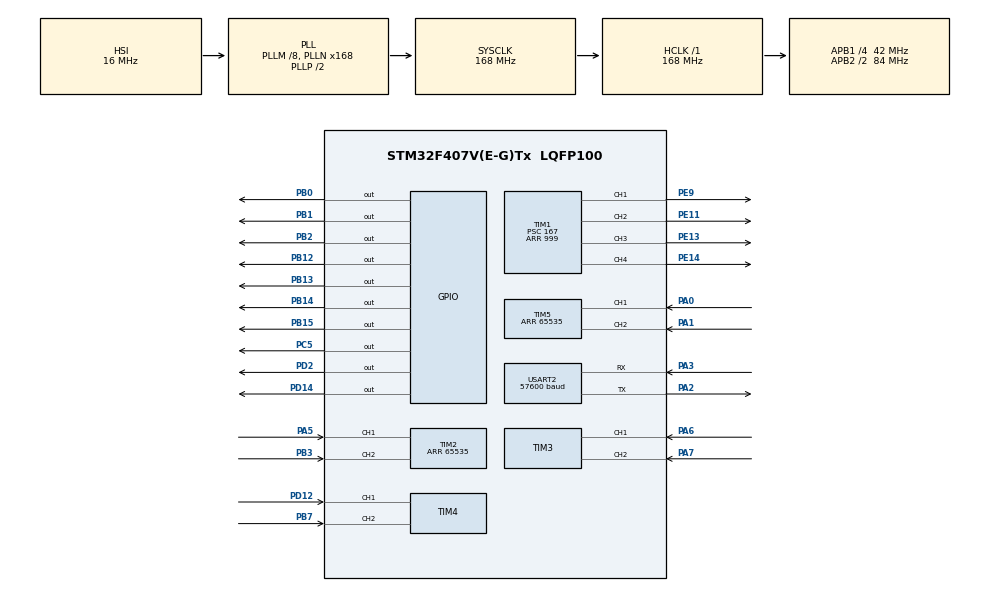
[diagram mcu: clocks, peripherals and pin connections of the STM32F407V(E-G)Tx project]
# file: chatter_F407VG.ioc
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Dma.Request0=USART2_RX
Dma.Request1=USART2_TX
Dma.USART2_RX.0.Direction=DMA_PERIPH_TO_MEMORY
Dma.USART2_RX.0.FIFOMode=DMA_FIFOMODE_DISABLE
Dma.USART2_RX.0.Instance=DMA1_Stream5
Dma.USART2_RX.0.MemDataAlignment=DMA_MDATAALIGN_BYTE
Dma.USART2_RX.0.MemInc=DMA_MINC_ENABLE
Dma.USART2_RX.0.Mode=DMA_CIRCULAR
Dma.USART2_RX.0.PeriphDataAlignment=DMA_PDATAALIGN_BYTE
Dma.USART2_RX.0.PeriphInc=DMA_PINC_DISABLE
Dma.USART2_RX.0.Priority=DMA_PRIORITY_LOW
Dma.USART2_TX.1.Direction=DMA_MEMORY_TO_PERIPH
Dma.USART2_TX.1.FIFOMode=DMA_FIFOMODE_DISABLE
Dma.USART2_TX.1.Instance=DMA1_Stream6
Dma.USART2_TX.1.MemDataAlignment=DMA_MDATAALIGN_BYTE
Dma.USART2_TX.1.MemInc=DMA_MINC_ENABLE
Dma.USART2_TX.1.Mode=DMA_NORMAL
Dma.USART2_TX.1.PeriphDataAlignment=DMA_PDATAALIGN_BYTE
Dma.USART2_TX.1.PeriphInc=DMA_PINC_DISABLE
Dma.USART2_TX.1.Priority=DMA_PRIORITY_LOW
Mcu.Family=STM32F4
Mcu.Name=STM32F407V(E-G)Tx
Mcu.Package=LQFP100
NVIC.DMA1_Stream5_IRQn=true\:0\:0\:false\:false\:true\:false\:true\:true
NVIC.DMA1_Stream6_IRQn=true\:0\:0\:false\:false\:true\:false\:true\:true
NVIC.PriorityGroup=NVIC_PRIORITYGROUP_4
NVIC.TIM1_BRK_TIM9_IRQn=true\:0\:0\:false\:false\:true\:true\:true\:true
NVIC.USART2_IRQn=true\:0\:0\:false\:false\:true\:true\:true\:true
PA0-WKUP.GPIO_PuPd=GPIO_PULLUP
PA0-WKUP.Signal=S_TIM5_CH1
PA1.GPIO_PuPd=GPIO_PULLUP
PA1.Signal=S_TIM5_CH2
PA13.Mode=Serial_Wire
PA13.Signal=SYS_JTMS-SWDIO
PA14.Mode=Serial_Wire
PA14.Signal=SYS_JTCK-SWCLK
PA2.Mode=Asynchronous
PA2.Signal=USART2_TX
PA3.Mode=Asynchronous
PA3.Signal=USART2_RX
PA5.GPIO_PuPd=GPIO_PULLUP
PA5.Signal=S_TIM2_CH1_ETR
PA6.GPIO_PuPd=GPIO_PULLUP
PA6.Signal=S_TIM3_CH1
PA7.GPIO_PuPd=GPIO_PULLUP
PA7.Signal=S_TIM3_CH2
PB0.Signal=GPIO_Output
PB1.Signal=GPIO_Output
PB12.Signal=GPIO_Output
PB13.Signal=GPIO_Output
PB14.Signal=GPIO_Output
PB15.Signal=GPIO_Output
PB2.Signal=GPIO_Output
PB3.GPIO_PuPd=GPIO_PULLUP
PB3.Signal=S_TIM2_CH2
PB7.GPIO_PuPd=GPIO_PULLUP
PB7.Signal=S_TIM4_CH2
PC5.Signal=GPIO_Output
PD12.GPIO_PuPd=GPIO_PULLUP
PD12.Signal=S_TIM4_CH1
PD14.Signal=GPIO_Output
PD2.Signal=GPIO_Output
PE11.Signal=S_TIM1_CH2
PE13.Signal=S_TIM1_CH3
PE14.Signal=S_TIM1_CH4
PE9.Signal=S_TIM1_CH1
PH0-OSC_IN.Mode=HSE-External-Oscillator
PH0-OSC_IN.Signal=RCC_OSC_IN
PH1-OSC_OUT.Mode=HSE-External-Oscillator
PH1-OSC_OUT.Signal=RCC_OSC_OUT
ProjectManager.HeapSize=0x200
ProjectManager.StackSize=0x400
ProjectManager.TargetToolchain=STM32CubeIDE
RCC.48MHZClocksFreq_Value=84000000
RCC.AHBFreq_Value=168000000
RCC.APB1CLKDivider=RCC_HCLK_DIV4
RCC.APB1Freq_Value=42000000
RCC.APB1TimFreq_Value=84000000
RCC.APB2CLKDivider=RCC_HCLK_DIV2
RCC.APB2Freq_Value=84000000
RCC.APB2TimFreq_Value=168000000
RCC.CortexFreq_Value=168000000
RCC.HCLKFreq_Value=168000000
RCC.HSE_VALUE=25000000
RCC.HSI_VALUE=16000000
RCC.LSE_VALUE=32768
RCC.PLLM=8
RCC.PLLN=168
RCC.SYSCLKFreq_VALUE=168000000
RCC.SYSCLKSource=RCC_SYSCLKSOURCE_PLLCLK
RCC.VCOOutputFreq_Value=336000000
SH.S_TIM1_CH1.0=TIM1_CH1,PWM Generation1 CH1
SH.S_TIM1_CH2.0=TIM1_CH2,PWM Generation2 CH2
SH.S_TIM1_CH3.0=TIM1_CH3,PWM Generation3 CH3
SH.S_TIM1_CH4.0=TIM1_CH4,PWM Generation4 CH4
SH.S_TIM2_CH1_ETR.0=TIM2_CH1,Encoder_Interface
SH.S_TIM2_CH2.0=TIM2_CH2,Encoder_Interface
SH.S_TIM3_CH1.0=TIM3_CH1,Encoder_Interface
SH.S_TIM3_CH2.0=TIM3_CH2,Encoder_Interface
SH.S_TIM4_CH1.0=TIM4_CH1,Encoder_Interface
SH.S_TIM4_CH2.0=TIM4_CH2,Encoder_Interface
SH.S_TIM5_CH1.0=TIM5_CH1,Encoder_Interface
SH.S_TIM5_CH2.0=TIM5_CH2,Encoder_Interface
TIM1.AutoReloadPreload=TIM_AUTORELOAD_PRELOAD_ENABLE
TIM1.Channel-PWM\ Generation1\ CH1=TIM_CHANNEL_1
TIM1.Channel-PWM\ Generation2\ CH2=TIM_CHANNEL_2
TIM1.Channel-PWM\ Generation3\ CH3=TIM_CHANNEL_3
TIM1.Channel-PWM\ Generation4\ CH4=TIM_CHANNEL_4
TIM1.Period=999
TIM1.Prescaler=167
TIM1.Pulse-PWM\ Generation1\ CH1=999
TIM1.Pulse-PWM\ Generation2\ CH2=799
TIM1.Pulse-PWM\ Generation3\ CH3=599
TIM1.Pulse-PWM\ Generation4\ CH4=399
TIM2.EncoderMode=TIM_ENCODERMODE_TI12
TIM2.Period=65535
TIM3.EncoderMode=TIM_ENCODERMODE_TI12
TIM4.EncoderMode=TIM_ENCODERMODE_TI12
TIM5.EncoderMode=TIM_ENCODERMODE_TI12
TIM5.Period=65535
TIM9.Period=9999
TIM9.Prescaler=3359
USART2.BaudRate=57600
USART2.VirtualMode=VM_ASYNC
VP_TIM1_VS_ClockSourceINT.Mode=Internal
VP_TIM9_VS_ClockSourceINT.Mode=Internal
board=custom

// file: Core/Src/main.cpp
/* USER CODE BEGIN Header */
/**
  ******************************************************************************
  * @file           : main.c
  * @brief          : Main program body
  ******************************************************************************
  * @attention
  *
  * Copyright (c) 2024 STMicroelectronics.
  * All rights reserved.
  *
  * This software is licensed under terms that can be found in the LICENSE file
  * in the root directory of this software component.
  * If no LICENSE file comes with this software, it is provided AS-IS.
  *
  ******************************************************************************
  */
/* USER CODE END Header */
#include "main.h"

/* USER CODE BEGIN Includes */
#include "mainpp.h"
#include <math.h>
/* USER CODE END Includes */

/* USER CODE BEGIN PD */
#define pi 3.1415926535898
/* USER CODE END PD */

TIM_HandleTypeDef htim1;
TIM_HandleTypeDef htim2;
TIM_HandleTypeDef htim3;
TIM_HandleTypeDef htim4;
TIM_HandleTypeDef htim5;
TIM_HandleTypeDef htim9;

UART_HandleTypeDef huart2;
DMA_HandleTypeDef hdma_usart2_rx;
DMA_HandleTypeDef hdma_usart2_tx;

void SystemClock_Config(void);
static void MX_GPIO_Init(void);
static void MX_DMA_Init(void);
static void MX_USART2_UART_Init(void);
static void MX_TIM2_Init(void);
static void MX_TIM3_Init(void);
static void MX_TIM4_Init(void);
static void MX_TIM5_Init(void);
static void MX_TIM1_Init(void);
static void MX_TIM9_Init(void);

/* USER CODE BEGIN 0 */
float v_set[4] = {300,300,300,300}, v_enc[4] = {0,0,0,0}; //rpm
float Kp[4] = {2,1,1,1}, Ki[4] = {0.1,0,0,0}, Kd[4] = {0,0,0,0}, Ta = 0.2; //Ta là chu ki ngat de tinh PID
float e[4] = {0,0,0,0}, sum_e[4] = {0,0,0,0}, pre_e[4] = {0,0,0,0}, d_e[4] = {0,0,0,0};
int16_t duty[4] = {0,0,0,0};
uint16_t encoder_cnt[4] = {0,0,0,0}, encoder_cnt_pre[4] = {0,0,0,0};
int16_t delta[4] = {0,0,0,0};
float r = 0.05, d = 0.2*sqrt(2), l = 2*pi*r;
bool check_PID =0;
void PID()
{
	for (int i = 0; i < 4; i++){
		e[i] = v_set[i] - v_enc[i];
		sum_e[i] += (e[i] + pre_e[i])/2;
		d_e[i] = e[i] - pre_e[i];
		pre_e[i] = e[i];

		duty[i] += (Kp[i] * e[i] + Ki[i] * Ta * sum_e[i] + Kd[i] * (1 / Ta) * d_e[i]);

		//gioi han gia tri duty
		if (duty[i] > 999)
		{
			duty[i] = 999;
		}
		else if (duty[i] < -999 )
		{
			duty[i] = -999;
		}
	}

	if (duty[0] >= 0){
		HAL_GPIO_WritePin(GPIOC,GPIO_PIN_5,GPIO_PIN_SET);
		HAL_GPIO_WritePin(GPIOB,GPIO_PIN_0,GPIO_PIN_RESET);
		__HAL_TIM_SET_COMPARE(&htim1,TIM_CHANNEL_1,duty[0]);
	}
	else if (duty[0] < 0){
		HAL_GPIO_WritePin(GPIOC,GPIO_PIN_5,GPIO_PIN_RESET);
		HAL_GPIO_WritePin(GPIOB,GPIO_PIN_0,GPIO_PIN_SET);
		__HAL_TIM_SET_COMPARE(&htim1,TIM_CHANNEL_1,-duty[0]);
	}
	if (duty[1] >= 0){
		HAL_GPIO_WritePin(GPIOB,GPIO_PIN_1,GPIO_PIN_SET);
		HAL_GPIO_WritePin(GPIOB,GPIO_PIN_2,GPIO_PIN_RESET);
		__HAL_TIM_SET_COMPARE(&htim1,TIM_CHANNEL_2,duty[1]);
	}
	else if (duty[1] < 0){
		HAL_GPIO_WritePin(GPIOB,GPIO_PIN_1,GPIO_PIN_RESET);
		HAL_GPIO_WritePin(GPIOB,GPIO_PIN_2,GPIO_PIN_SET);
		__HAL_TIM_SET_COMPARE(&htim1,TIM_CHANNEL_2,-duty[1]);
	}
	if (duty[2] >= 0){
		HAL_GPIO_WritePin(GPIOB,GPIO_PIN_12,GPIO_PIN_SET);
		HAL_GPIO_WritePin(GPIOB,GPIO_PIN_13,GPIO_PIN_RESET);
		__HAL_TIM_SET_COMPARE(&htim1,TIM_CHANNEL_3,duty[2]);
	}
	else if (duty[2] < 0){
		HAL_GPIO_WritePin(GPIOB,GPIO_PIN_12,GPIO_PIN_RESET);
		HAL_GPIO_WritePin(GPIOB,GPIO_PIN_13,GPIO_PIN_SET);
		__HAL_TIM_SET_COMPARE(&htim1,TIM_CHANNEL_3,-duty[2]);
	}
	if (duty[3] >= 0){
		HAL_GPIO_WritePin(GPIOB,GPIO_PIN_14,GPIO_PIN_SET);
		HAL_GPIO_WritePin(GPIOB,GPIO_PIN_15,GPIO_PIN_RESET);
		__HAL_TIM_SET_COMPARE(&htim1,TIM_CHANNEL_4,duty[3]);
	}
	else if (duty[3] < 0){
		HAL_GPIO_WritePin(GPIOB,GPIO_PIN_14,GPIO_PIN_RESET);
		HAL_GPIO_WritePin(GPIOB,GPIO_PIN_15,GPIO_PIN_SET);
		__HAL_TIM_SET_COMPARE(&htim1,TIM_CHANNEL_4,-duty[3]);
	}
	check_PID = 0;
}

void HAL_TIM_PeriodElapsedCallback(TIM_HandleTypeDef *htim)		// CT phuc vu ngat timer
{
	if (htim->Instance == TIM9)
	{
		encoder_cnt[0] = __HAL_TIM_GET_COUNTER(&htim2);
		encoder_cnt[1] = __HAL_TIM_GET_COUNTER(&htim3);
		encoder_cnt[2] = __HAL_TIM_GET_COUNTER(&htim4);
		encoder_cnt[3] = __HAL_TIM_GET_COUNTER(&htim5);
		for (int i = 0; i < 4; i++){
			if(encoder_cnt[i] - encoder_cnt_pre[i] > 30000)			// Overflow khi quay nguoc
			{
				delta[i] = encoder_cnt[i] - encoder_cnt_pre[i] - 65536;
			}
			else if(encoder_cnt[i] - encoder_cnt_pre[i] < -30000)	// Overflow khi quay thuan
			{
				delta[i] = encoder_cnt[i] - encoder_cnt_pre[i] + 65536;
			}
			else
			{
				delta[i] = encoder_cnt[i] - encoder_cnt_pre[i];
			}
			v_enc[i] = (float)(delta[i])*60*5/998;
			encoder_cnt_pre[i] = encoder_cnt[i] ;
		}
		check_PID = 1;
		//HAL_GPIO_TogglePin(GPIOD, GPIO_PIN_14);
	}
}
/* USER CODE END 0 */

int main(void)
{

  /* MCU Configuration--------------------------------------------------------*/

  /* Reset of all peripherals, Initializes the Flash interface and the Systick. */
  HAL_Init();

  /* Configure the system clock */
  SystemClock_Config();

  /* Initialize all configured peripherals */
  MX_GPIO_Init();
  MX_DMA_Init();
  MX_USART2_UART_Init();
  MX_TIM2_Init();
  MX_TIM3_Init();
  MX_TIM4_Init();
  MX_TIM5_Init();
  MX_TIM1_Init();
  MX_TIM9_Init();
  /* USER CODE BEGIN 2 */
  HAL_TIM_PWM_Start(&htim1, TIM_CHANNEL_1);
  HAL_TIM_PWM_Start(&htim1, TIM_CHANNEL_2);
  HAL_TIM_PWM_Start(&htim1, TIM_CHANNEL_3);
  HAL_TIM_PWM_Start(&htim1, TIM_CHANNEL_4);

  HAL_TIM_Encoder_Start(&htim2,TIM_CHANNEL_ALL);
  HAL_TIM_Encoder_Start(&htim3,TIM_CHANNEL_ALL);
  HAL_TIM_Encoder_Start(&htim4,TIM_CHANNEL_ALL);
  HAL_TIM_Encoder_Start(&htim5,TIM_CHANNEL_ALL);

  HAL_TIM_Base_Start_IT(&htim9);

  setup();
  /* USER CODE END 2 */

  /* Infinite loop */
  while (1)
  {

    /* USER CODE BEGIN 3 */
	  if (check_PID)  PID();
	  loop();
  }
  /* USER CODE END 3 */
}

void SystemClock_Config(void)
{
  RCC_OscInitTypeDef RCC_OscInitStruct = {0};
  RCC_ClkInitTypeDef RCC_ClkInitStruct = {0};

  /** Configure the main internal regulator output voltage
  */
  __HAL_RCC_PWR_CLK_ENABLE();
  __HAL_PWR_VOLTAGESCALING_CONFIG(PWR_REGULATOR_VOLTAGE_SCALE1);

  /** Initializes the RCC Oscillators according to the specified parameters
  * in the RCC_OscInitTypeDef structure.
  */
  RCC_OscInitStruct.OscillatorType = RCC_OSCILLATORTYPE_HSI;
  RCC_OscInitStruct.HSIState = RCC_HSI_ON;
  RCC_OscInitStruct.HSICalibrationValue = RCC_HSICALIBRATION_DEFAULT;
  RCC_OscInitStruct.PLL.PLLState = RCC_PLL_ON;
  RCC_OscInitStruct.PLL.PLLSource = RCC_PLLSOURCE_HSI;
  RCC_OscInitStruct.PLL.PLLM = 8;
  RCC_OscInitStruct.PLL.PLLN = 168;
  RCC_OscInitStruct.PLL.PLLP = RCC_PLLP_DIV2;
  RCC_OscInitStruct.PLL.PLLQ = 4;
  if (HAL_RCC_OscConfig(&RCC_OscInitStruct) != HAL_OK)
  {
    Error_Handler();
  }

  /** Initializes the CPU, AHB and APB buses clocks
  */
  RCC_ClkInitStruct.ClockType = RCC_CLOCKTYPE_HCLK|RCC_CLOCKTYPE_SYSCLK
                              |RCC_CLOCKTYPE_PCLK1|RCC_CLOCKTYPE_PCLK2;
  RCC_ClkInitStruct.SYSCLKSource = RCC_SYSCLKSOURCE_PLLCLK;
  RCC_ClkInitStruct.AHBCLKDivider = RCC_SYSCLK_DIV1;
  RCC_ClkInitStruct.APB1CLKDivider = RCC_HCLK_DIV4;
  RCC_ClkInitStruct.APB2CLKDivider = RCC_HCLK_DIV2;

  if (HAL_RCC_ClockConfig(&RCC_ClkInitStruct, FLASH_LATENCY_5) != HAL_OK)
  {
    Error_Handler();
  }
}

static void MX_TIM1_Init(void)
{

  TIM_ClockConfigTypeDef sClockSourceConfig = {0};
  TIM_MasterConfigTypeDef sMasterConfig = {0};
  TIM_OC_InitTypeDef sConfigOC = {0};
  TIM_BreakDeadTimeConfigTypeDef sBreakDeadTimeConfig = {0};

  htim1.Instance = TIM1;
  htim1.Init.Prescaler = 167;
  htim1.Init.CounterMode = TIM_COUNTERMODE_UP;
  htim1.Init.Period = 999;
  htim1.Init.ClockDivision = TIM_CLOCKDIVISION_DIV1;
  htim1.Init.RepetitionCounter = 0;
  htim1.Init.AutoReloadPreload = TIM_AUTORELOAD_PRELOAD_ENABLE;
  if (HAL_TIM_Base_Init(&htim1) != HAL_OK)
  {
    Error_Handler();
  }
  sClockSourceConfig.ClockSource = TIM_CLOCKSOURCE_INTERNAL;
  if (HAL_TIM_ConfigClockSource(&htim1, &sClockSourceConfig) != HAL_OK)
  {
    Error_Handler();
  }
  if (HAL_TIM_PWM_Init(&htim1) != HAL_OK)
  {
    Error_Handler();
  }
  sMasterConfig.MasterOutputTrigger = TIM_TRGO_RESET;
  sMasterConfig.MasterSlaveMode = TIM_MASTERSLAVEMODE_DISABLE;
  if (HAL_TIMEx_MasterConfigSynchronization(&htim1, &sMasterConfig) != HAL_OK)
  {
    Error_Handler();
  }
  sConfigOC.OCMode = TIM_OCMODE_PWM1;
  sConfigOC.Pulse = 999;
  sConfigOC.OCPolarity = TIM_OCPOLARITY_HIGH;
  sConfigOC.OCNPolarity = TIM_OCNPOLARITY_HIGH;
  sConfigOC.OCFastMode = TIM_OCFAST_DISABLE;
  sConfigOC.OCIdleState = TIM_OCIDLESTATE_RESET;
  sConfigOC.OCNIdleState = TIM_OCNIDLESTATE_RESET;
  if (HAL_TIM_PWM_ConfigChannel(&htim1, &sConfigOC, TIM_CHANNEL_1) != HAL_OK)
  {
    Error_Handler();
  }
  sConfigOC.Pulse = 799;
  if (HAL_TIM_PWM_ConfigChannel(&htim1, &sConfigOC, TIM_CHANNEL_2) != HAL_OK)
  {
    Error_Handler();
  }
  sConfigOC.Pulse = 599;
  if (HAL_TIM_PWM_ConfigChannel(&htim1, &sConfigOC, TIM_CHANNEL_3) != HAL_OK)
  {
    Error_Handler();
  }
  sConfigOC.Pulse = 399;
  if (HAL_TIM_PWM_ConfigChannel(&htim1, &sConfigOC, TIM_CHANNEL_4) != HAL_OK)
  {
    Error_Handler();
  }
  sBreakDeadTimeConfig.OffStateRunMode = TIM_OSSR_DISABLE;
  sBreakDeadTimeConfig.OffStateIDLEMode = TIM_OSSI_DISABLE;
  sBreakDeadTimeConfig.LockLevel = TIM_LOCKLEVEL_OFF;
  sBreakDeadTimeConfig.DeadTime = 0;
  sBreakDeadTimeConfig.BreakState = TIM_BREAK_DISABLE;
  sBreakDeadTimeConfig.BreakPolarity = TIM_BREAKPOLARITY_HIGH;
  sBreakDeadTimeConfig.AutomaticOutput = TIM_AUTOMATICOUTPUT_DISABLE;
  if (HAL_TIMEx_ConfigBreakDeadTime(&htim1, &sBreakDeadTimeConfig) != HAL_OK)
  {
    Error_Handler();
  }
  HAL_TIM_MspPostInit(&htim1);

}

static void MX_TIM2_Init(void)
{

  TIM_Encoder_InitTypeDef sConfig = {0};
  TIM_MasterConfigTypeDef sMasterConfig = {0};

  htim2.Instance = TIM2;
  htim2.Init.Prescaler = 0;
  htim2.Init.CounterMode = TIM_COUNTERMODE_UP;
  htim2.Init.Period = 65535;
  htim2.Init.ClockDivision = TIM_CLOCKDIVISION_DIV1;
  htim2.Init.AutoReloadPreload = TIM_AUTORELOAD_PRELOAD_DISABLE;
  sConfig.EncoderMode = TIM_ENCODERMODE_TI12;
  sConfig.IC1Polarity = TIM_ICPOLARITY_RISING;
  sConfig.IC1Selection = TIM_ICSELECTION_DIRECTTI;
  sConfig.IC1Prescaler = TIM_ICPSC_DIV1;
  sConfig.IC1Filter = 0;
  sConfig.IC2Polarity = TIM_ICPOLARITY_RISING;
  sConfig.IC2Selection = TIM_ICSELECTION_DIRECTTI;
  sConfig.IC2Prescaler = TIM_ICPSC_DIV1;
  sConfig.IC2Filter = 0;
  if (HAL_TIM_Encoder_Init(&htim2, &sConfig) != HAL_OK)
  {
    Error_Handler();
  }
  sMasterConfig.MasterOutputTrigger = TIM_TRGO_RESET;
  sMasterConfig.MasterSlaveMode = TIM_MASTERSLAVEMODE_DISABLE;
  if (HAL_TIMEx_MasterConfigSynchronization(&htim2, &sMasterConfig) != HAL_OK)
  {
    Error_Handler();
  }

}

static void MX_TIM3_Init(void)
{

  TIM_Encoder_InitTypeDef sConfig = {0};
  TIM_MasterConfigTypeDef sMasterConfig = {0};

  htim3.Instance = TIM3;
  htim3.Init.Prescaler = 0;
  htim3.Init.CounterMode = TIM_COUNTERMODE_UP;
  htim3.Init.Period = 65535;
  htim3.Init.ClockDivision = TIM_CLOCKDIVISION_DIV1;
  htim3.Init.AutoReloadPreload = TIM_AUTORELOAD_PRELOAD_DISABLE;
  sConfig.EncoderMode = TIM_ENCODERMODE_TI12;
  sConfig.IC1Polarity = TIM_ICPOLARITY_RISING;
  sConfig.IC1Selection = TIM_ICSELECTION_DIRECTTI;
  sConfig.IC1Prescaler = TIM_ICPSC_DIV1;
  sConfig.IC1Filter = 0;
  sConfig.IC2Polarity = TIM_ICPOLARITY_RISING;
  sConfig.IC2Selection = TIM_ICSELECTION_DIRECTTI;
  sConfig.IC2Prescaler = TIM_ICPSC_DIV1;
  sConfig.IC2Filter = 0;
  if (HAL_TIM_Encoder_Init(&htim3, &sConfig) != HAL_OK)
  {
    Error_Handler();
  }
  sMasterConfig.MasterOutputTrigger = TIM_TRGO_RESET;
  sMasterConfig.MasterSlaveMode = TIM_MASTERSLAVEMODE_DISABLE;
  if (HAL_TIMEx_MasterConfigSynchronization(&htim3, &sMasterConfig) != HAL_OK)
  {
    Error_Handler();
  }

}

static void MX_TIM4_Init(void)
{

  TIM_Encoder_InitTypeDef sConfig = {0};
  TIM_MasterConfigTypeDef sMasterConfig = {0};

  htim4.Instance = TIM4;
  htim4.Init.Prescaler = 0;
  htim4.Init.CounterMode = TIM_COUNTERMODE_UP;
  htim4.Init.Period = 65535;
  htim4.Init.ClockDivision = TIM_CLOCKDIVISION_DIV1;
  htim4.Init.AutoReloadPreload = TIM_AUTORELOAD_PRELOAD_DISABLE;
  sConfig.EncoderMode = TIM_ENCODERMODE_TI12;
  sConfig.IC1Polarity = TIM_ICPOLARITY_RISING;
  sConfig.IC1Selection = TIM_ICSELECTION_DIRECTTI;
  sConfig.IC1Prescaler = TIM_ICPSC_DIV1;
  sConfig.IC1Filter = 0;
  sConfig.IC2Polarity = TIM_ICPOLARITY_RISING;
  sConfig.IC2Selection = TIM_ICSELECTION_DIRECTTI;
  sConfig.IC2Prescaler = TIM_ICPSC_DIV1;
  sConfig.IC2Filter = 0;
  if (HAL_TIM_Encoder_Init(&htim4, &sConfig) != HAL_OK)
  {
    Error_Handler();
  }
  sMasterConfig.MasterOutputTrigger = TIM_TRGO_RESET;
  sMasterConfig.MasterSlaveMode = TIM_MASTERSLAVEMODE_DISABLE;
  if (HAL_TIMEx_MasterConfigSynchronization(&htim4, &sMasterConfig) != HAL_OK)
  {
    Error_Handler();
  }

}

static void MX_TIM5_Init(void)
{

  TIM_Encoder_InitTypeDef sConfig = {0};
  TIM_MasterConfigTypeDef sMasterConfig = {0};

  htim5.Instance = TIM5;
  htim5.Init.Prescaler = 0;
  htim5.Init.CounterMode = TIM_COUNTERMODE_UP;
  htim5.Init.Period = 65535;
  htim5.Init.ClockDivision = TIM_CLOCKDIVISION_DIV1;
  htim5.Init.AutoReloadPreload = TIM_AUTORELOAD_PRELOAD_DISABLE;
  sConfig.EncoderMode = TIM_ENCODERMODE_TI12;
  sConfig.IC1Polarity = TIM_ICPOLARITY_RISING;
  sConfig.IC1Selection = TIM_ICSELECTION_DIRECTTI;
  sConfig.IC1Prescaler = TIM_ICPSC_DIV1;
  sConfig.IC1Filter = 0;
  sConfig.IC2Polarity = TIM_ICPOLARITY_RISING;
  sConfig.IC2Selection = TIM_ICSELECTION_DIRECTTI;
  sConfig.IC2Prescaler = TIM_ICPSC_DIV1;
  sConfig.IC2Filter = 0;
  if (HAL_TIM_Encoder_Init(&htim5, &sConfig) != HAL_OK)
  {
    Error_Handler();
  }
  sMasterConfig.MasterOutputTrigger = TIM_TRGO_RESET;
  sMasterConfig.MasterSlaveMode = TIM_MASTERSLAVEMODE_DISABLE;
  if (HAL_TIMEx_MasterConfigSynchronization(&htim5, &sMasterConfig) != HAL_OK)
  {
    Error_Handler();
  }

}

static void MX_TIM9_Init(void)
{

  TIM_ClockConfigTypeDef sClockSourceConfig = {0};

  htim9.Instance = TIM9;
  htim9.Init.Prescaler = 3359;
  htim9.Init.CounterMode = TIM_COUNTERMODE_UP;
  htim9.Init.Period = 9999;
  htim9.Init.ClockDivision = TIM_CLOCKDIVISION_DIV1;
  htim9.Init.AutoReloadPreload = TIM_AUTORELOAD_PRELOAD_DISABLE;
  if (HAL_TIM_Base_Init(&htim9) != HAL_OK)
  {
    Error_Handler();
  }
  sClockSourceConfig.ClockSource = TIM_CLOCKSOURCE_INTERNAL;
  if (HAL_TIM_ConfigClockSource(&htim9, &sClockSourceConfig) != HAL_OK)
  {
    Error_Handler();
  }

}

static void MX_USART2_UART_Init(void)
{

  huart2.Instance = USART2;
  huart2.Init.BaudRate = 57600;
  huart2.Init.WordLength = UART_WORDLENGTH_8B;
  huart2.Init.StopBits = UART_STOPBITS_1;
  huart2.Init.Parity = UART_PARITY_NONE;
  huart2.Init.Mode = UART_MODE_TX_RX;
  huart2.Init.HwFlowCtl = UART_HWCONTROL_NONE;
  huart2.Init.OverSampling = UART_OVERSAMPLING_16;
  if (HAL_UART_Init(&huart2) != HAL_OK)
  {
    Error_Handler();
  }

}

static void MX_DMA_Init(void)
{

  /* DMA controller clock enable */
  __HAL_RCC_DMA1_CLK_ENABLE();

  /* DMA interrupt init */
  /* DMA1_Stream5_IRQn interrupt configuration */
  HAL_NVIC_SetPriority(DMA1_Stream5_IRQn, 0, 0);
  HAL_NVIC_EnableIRQ(DMA1_Stream5_IRQn);
  /* DMA1_Stream6_IRQn interrupt configuration */
  HAL_NVIC_SetPriority(DMA1_Stream6_IRQn, 0, 0);
  HAL_NVIC_EnableIRQ(DMA1_Stream6_IRQn);

}

static void MX_GPIO_Init(void)
{
  GPIO_InitTypeDef GPIO_InitStruct = {0};

  /* GPIO Ports Clock Enable */
  __HAL_RCC_GPIOH_CLK_ENABLE();
  __HAL_RCC_GPIOA_CLK_ENABLE();
  __HAL_RCC_GPIOC_CLK_ENABLE();
  __HAL_RCC_GPIOB_CLK_ENABLE();
  __HAL_RCC_GPIOE_CLK_ENABLE();
  __HAL_RCC_GPIOD_CLK_ENABLE();

  /*Configure GPIO pin Output Level */
  HAL_GPIO_WritePin(GPIOC, GPIO_PIN_5, GPIO_PIN_RESET);

  /*Configure GPIO pin Output Level */
  HAL_GPIO_WritePin(GPIOB, GPIO_PIN_0|GPIO_PIN_1|GPIO_PIN_2|GPIO_PIN_12
                          |GPIO_PIN_13|GPIO_PIN_14|GPIO_PIN_15, GPIO_PIN_RESET);

  /*Configure GPIO pin Output Level */
  HAL_GPIO_WritePin(GPIOD, GPIO_PIN_14|GPIO_PIN_2, GPIO_PIN_RESET);

  /*Configure GPIO pin : PC5 */
  GPIO_InitStruct.Pin = GPIO_PIN_5;
  GPIO_InitStruct.Mode = GPIO_MODE_OUTPUT_PP;
  GPIO_InitStruct.Pull = GPIO_NOPULL;
  GPIO_InitStruct.Speed = GPIO_SPEED_FREQ_LOW;
  HAL_GPIO_Init(GPIOC, &GPIO_InitStruct);

  /*Configure GPIO pins : PB0 PB1 PB2 PB12
                           PB13 PB14 PB15 */
  GPIO_InitStruct.Pin = GPIO_PIN_0|GPIO_PIN_1|GPIO_PIN_2|GPIO_PIN_12
                          |GPIO_PIN_13|GPIO_PIN_14|GPIO_PIN_15;
  GPIO_InitStruct.Mode = GPIO_MODE_OUTPUT_PP;
  GPIO_InitStruct.Pull = GPIO_NOPULL;
  GPIO_InitStruct.Speed = GPIO_SPEED_FREQ_LOW;
  HAL_GPIO_Init(GPIOB, &GPIO_InitStruct);

  /*Configure GPIO pins : PD14 PD2 */
  GPIO_InitStruct.Pin = GPIO_PIN_14|GPIO_PIN_2;
  GPIO_InitStruct.Mode = GPIO_MODE_OUTPUT_PP;
  GPIO_InitStruct.Pull = GPIO_NOPULL;
  GPIO_InitStruct.Speed = GPIO_SPEED_FREQ_LOW;
  HAL_GPIO_Init(GPIOD, &GPIO_InitStruct);

}

void Error_Handler(void)
{
  __disable_irq();
  while (1)
  {
  }
}
